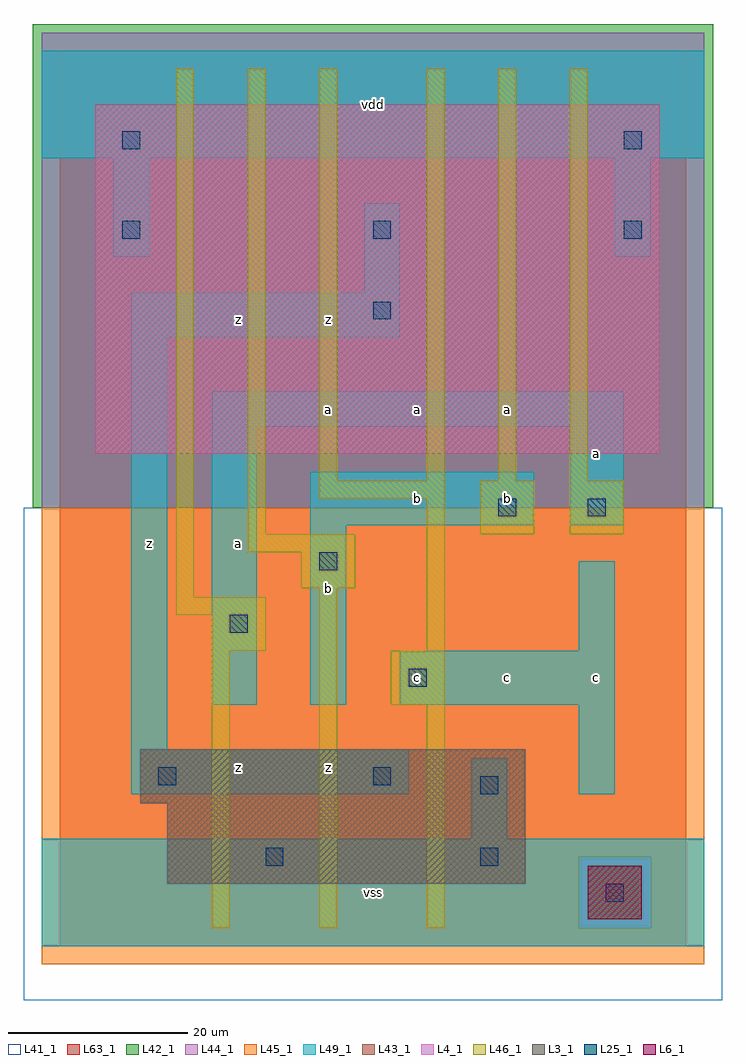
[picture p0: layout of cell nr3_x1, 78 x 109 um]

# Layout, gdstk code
import gdstk
lib = gdstk.Library(unit=1e-6, precision=1e-09)
def R(c, l, rs):  # rectangles x0, y0, x1, y1
    for r in rs: c.add(gdstk.rectangle(r[:2], r[2:], *l))
def A(c, l, x, y, w, h, nx, ny, dx, dy):  # array of equal rectangles
    R(c, l, [(x+i*dx, y+j*dy, x+i*dx+w, y+j*dy+h) for i in range(nx) for j in range(ny)])
L3_1 = (3, 1)
L4_1 = (4, 1)
L6_1 = (6, 1)
L25_1 = (25, 1)
L41_1 = (41, 1)
L42_1 = (42, 1)
L43_1 = (43, 1)
L44_1 = (44, 1)
L45_1 = (45, 1)
L46_1 = (46, 1)
L49_1 = (49, 1)
L63_1 = (63, 1)

nr3_x1 = lib.new_cell('nr3_x1')
R(nr3_x1, L3_1, [(12,7,52,16), (9,16,52,22)])
R(nr3_x1, L4_1, [(4,55,67,94)])
R(nr3_x1, L6_1, [(59,3,65,9)])
A(nr3_x1, L25_1, 7, 79, 2, 2, 3, 1, 28, 0)
R(nr3_x1, L25_1, [(61,5,63,7), (23,9,25,11), (47,9,49,11), (47,17,49,19), (11,18,13,20), (35,18,37,20), (39,29,41,31), (19,35,21,37), (29,42,31,44), (49,48,51,50), (59,48,61,50), (35,70,37,72), (7,89,9,91), (63,89,65,91)])
R(nr3_x1, L41_1, [(-4,-6,74,49), (-3,-3,73,49)])
R(nr3_x1, L42_1, [(-3,49,73,103)])
R(nr3_x1, L43_1, [(59,3,65,9), (12,7,52,16), (9,16,52,22), (4,55,67,94)])
R(nr3_x1, L44_1, [(58,2,66,10), (-2,49,72,102)])
R(nr3_x1, L45_1, [(-2,-2,72,2), (-2,2,58,10), (66,2,72,10), (-2,10,72,49)])
A(nr3_x1, L46_1, 41, 52, 2, 46, 3, 1, 8, 0)
R(nr3_x1, L46_1, [(17,2,19,33), (29,2,31,40), (41,2,43,27), (37,27,43,33), (17,33,23,37), (41,33,43,50), (13,37,23,39), (13,39,15,98), (27,40,33,44), (21,44,33,46), (21,46,23,98), (47,46,53,52), (57,46,63,52), (29,50,43,52), (29,52,31,98)])
R(nr3_x1, L49_1, [(-2,0,72,12), (46,12,50,21), (8,17,39,22), (58,17,62,27), (8,22,12,68), (17,27,22,58), (28,27,32,47), (38,27,62,33), (58,33,62,43), (28,47,53,53), (57,47,63,58), (17,58,63,62), (8,68,38,73), (34,73,38,83), (6,77,10,88), (62,77,66,88), (-2,88,72,100)])
R(nr3_x1, L63_1, [(0,0,70,100)])
nr3_x1.add(gdstk.Label('z', (20,20), layer=49, texttype=1))
nr3_x1.add(gdstk.Label('z', (20,20), layer=49, texttype=1))
nr3_x1.add(gdstk.Label('z', (10,45), layer=49, texttype=1))
nr3_x1.add(gdstk.Label('z', (10,45), layer=49, texttype=1))
nr3_x1.add(gdstk.Label('a', (20,45), layer=49, texttype=1))
nr3_x1.add(gdstk.Label('a', (20,45), layer=49, texttype=1))
nr3_x1.add(gdstk.Label('z', (20,70), layer=49, texttype=1))
nr3_x1.add(gdstk.Label('z', (20,70), layer=49, texttype=1))
nr3_x1.add(gdstk.Label('vss', (35,6), layer=49, texttype=1))
nr3_x1.add(gdstk.Label('vss', (35,6), layer=49, texttype=1))
nr3_x1.add(gdstk.Label('z', (30,20), layer=49, texttype=1))
nr3_x1.add(gdstk.Label('z', (30,20), layer=49, texttype=1))
nr3_x1.add(gdstk.Label('b', (30,40), layer=49, texttype=1))
nr3_x1.add(gdstk.Label('b', (30,40), layer=49, texttype=1))
nr3_x1.add(gdstk.Label('a', (30,60), layer=49, texttype=1))
nr3_x1.add(gdstk.Label('a', (30,60), layer=49, texttype=1))
nr3_x1.add(gdstk.Label('z', (30,70), layer=49, texttype=1))
nr3_x1.add(gdstk.Label('z', (30,70), layer=49, texttype=1))
nr3_x1.add(gdstk.Label('vdd', (35,94), layer=49, texttype=1))
nr3_x1.add(gdstk.Label('vdd', (35,94), layer=49, texttype=1))
nr3_x1.add(gdstk.Label('c', (40,30), layer=49, texttype=1))
nr3_x1.add(gdstk.Label('c', (40,30), layer=49, texttype=1))
nr3_x1.add(gdstk.Label('c', (50,30), layer=49, texttype=1))
nr3_x1.add(gdstk.Label('c', (50,30), layer=49, texttype=1))
nr3_x1.add(gdstk.Label('b', (40,50), layer=49, texttype=1))
nr3_x1.add(gdstk.Label('b', (40,50), layer=49, texttype=1))
nr3_x1.add(gdstk.Label('b', (50,50), layer=49, texttype=1))
nr3_x1.add(gdstk.Label('b', (50,50), layer=49, texttype=1))
nr3_x1.add(gdstk.Label('a', (50,60), layer=49, texttype=1))
nr3_x1.add(gdstk.Label('a', (50,60), layer=49, texttype=1))
nr3_x1.add(gdstk.Label('a', (40,60), layer=49, texttype=1))
nr3_x1.add(gdstk.Label('a', (40,60), layer=49, texttype=1))
nr3_x1.add(gdstk.Label('c', (60,30), layer=49, texttype=1))
nr3_x1.add(gdstk.Label('c', (60,30), layer=49, texttype=1))
nr3_x1.add(gdstk.Label('a', (60,55), layer=49, texttype=1))
nr3_x1.add(gdstk.Label('a', (60,55), layer=49, texttype=1))

lib.write_gds('nr3_x1.gds')
